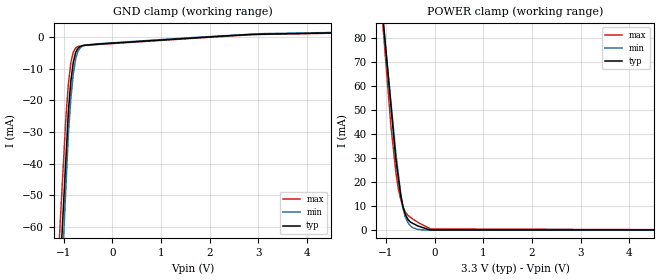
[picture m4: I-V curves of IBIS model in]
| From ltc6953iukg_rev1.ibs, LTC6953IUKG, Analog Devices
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[Model] in
Model_type Input
Vinl = 1.98750V
Vinh = 2.11250V
C_comp 532.000fF 496.000fF 568.000fF
| variable typ   min   max
[Voltage Range]   3.30000V 3.15000V 3.45000V
[POWER Clamp Reference] 3.30000V 3.15000V 3.45000V
[GND Clamp Reference]   0.00000V 0.00000V 0.00000V
[Temperature Range]   25   125   -40
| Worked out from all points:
|   POWER clamp passes 1 mA (typ) near -0.25 V on its own axis
[GND Clamp]
-3.3V     -730.9mA   -819.4mA   -690.2mA
-950mV    -37.95mA   -46.93mA   -24.91mA
-900mV    -23.2mA    -30.49mA   -14.59mA
-850mV    -13.85mA   -19.43mA   -8.098mA
-800mV    -7.978mA   -11.59mA   -4.771mA
-750mV    -4.812mA   -6.827mA   -3.444mA
-700mV    -3.442mA   -4.353mA   -2.976mA
-650mV    -2.93mA    -3.315mA   -2.835mA
-550mV    -2.596mA   -2.523mA   -2.638mA
-275mV    -2.221mA   -2.114mA   -2.339mA
3.05V     885.3uA    1.065mA    822.9uA
6.6V      1.886mA    1.95mA     1.751mA
[POWER Clamp]
-3.3V     586mA      558.9mA    654.4mA
-1.05V    85.32mA    84.87mA    81.47mA
-900mV    51.94mA    53.27mA    43.28mA
-800mV    29.69mA    32.2mA     24.25mA
-750mV    22.08mA    23.72mA    17.3mA
-700mV    14.48mA    15.24mA    12.85mA
-650mV    9.523mA    8.821mA    9.401mA
-600mV    6.344mA    5.139mA    7.318mA
-550mV    4.394mA    3.068mA    6.111mA
-450mV    2.756mA    951.7uA    4.514mA
-75mV     0A         0A         433.9uA
6.6V      0A         0A         0A
